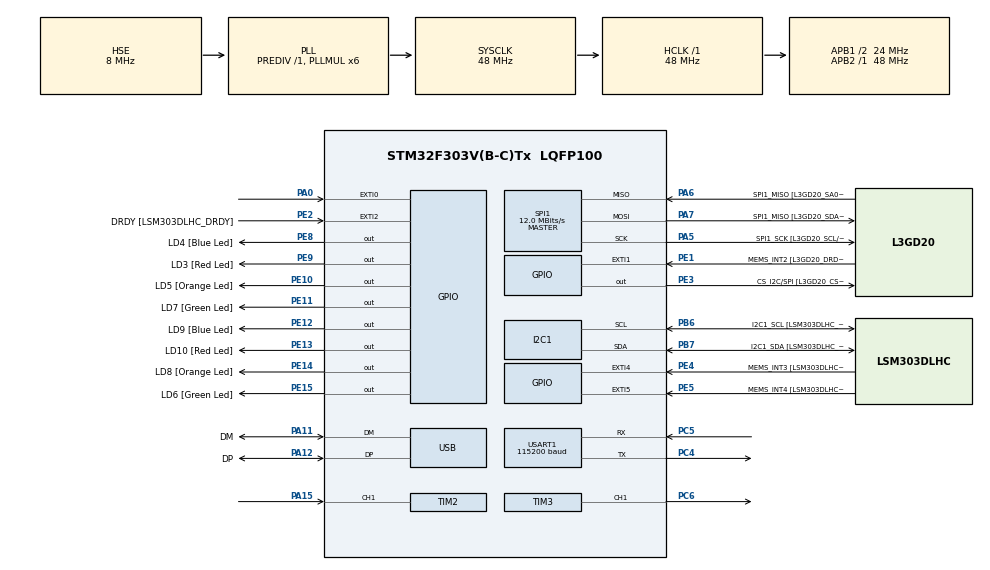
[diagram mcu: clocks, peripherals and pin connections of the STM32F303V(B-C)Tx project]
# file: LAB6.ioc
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I2C1.Timing=0x00201D2B
I2C1.Timing-I2C=0x2000090E
Mcu.Family=STM32F3
Mcu.Name=STM32F303V(B-C)Tx
Mcu.Package=LQFP100
NVIC.EXTI0_IRQn=true\:0\:0\:false\:false\:true\:true\:true\:true
NVIC.PriorityGroup=NVIC_PRIORITYGROUP_0
NVIC.TIM2_IRQn=true\:0\:0\:false\:false\:true\:true\:true\:true
NVIC.USB_LP_CAN_RX0_IRQn=true\:0\:0\:false\:false\:true\:false\:true\:true
PA0.Signal=GPXTI0
PA11.GPIO_Label=DM
PA11.Mode=Device
PA11.Signal=USB_DM
PA12.GPIO_Label=DP
PA12.Mode=Device
PA12.Signal=USB_DP
PA13.GPIO_Label=SWDIO
PA13.Mode=Serial_Wire
PA13.Signal=SYS_JTMS-SWDIO
PA14.GPIO_Label=SWCLK
PA14.Mode=Serial_Wire
PA14.Signal=SYS_JTCK-SWCLK
PA15.Signal=S_TIM2_CH1_ETR
PA5.GPIO_Label=SPI1_SCK [L3GD20_SCL/SPC]
PA5.Mode=Full_Duplex_Master
PA5.Signal=SPI1_SCK
PA6.GPIO_Label=SPI1_MISO [L3GD20_SA0/SDO]
PA6.Mode=Full_Duplex_Master
PA6.Signal=SPI1_MISO
PA7.GPIO_Label=SPI1_MISO [L3GD20_SDA/SDI/SDO]
PA7.Mode=Full_Duplex_Master
PA7.Signal=SPI1_MOSI
PB3.GPIO_Label=SWO
PB3.Signal=SYS_JTDO-TRACESWO
PB6.GPIO_Label=I2C1_SCL [LSM303DLHC_SCL]
PB6.GPIO_Pu=GPIO_PULLUP
PB6.Mode=I2C
PB6.Signal=I2C1_SCL
PB7.GPIO_Label=I2C1_SDA [LSM303DLHC_SDA]
PB7.GPIO_Pu=GPIO_PULLUP
PB7.Mode=I2C
PB7.Signal=I2C1_SDA
PC14-OSC32_IN.GPIO_Label=OSC32_IN
PC14-OSC32_IN.Signal=RCC_OSC32_IN
PC15-OSC32_OUT.GPIO_Label=OSC32_OUT
PC15-OSC32_OUT.Signal=RCC_OSC32_OUT
PC4.Mode=Asynchronous
PC4.Signal=USART1_TX
PC5.Mode=Asynchronous
PC5.Signal=USART1_RX
PC6.Signal=S_TIM3_CH1
PE1.GPIO_Label=MEMS_INT2 [L3GD20_DRDY/INT2]
PE1.GPIO_ModeDefaultEXTI=GPIO_MODE_EVT_RISING
PE1.Signal=GPXTI1
PE10.GPIO_Label=LD5 [Orange Led]
PE10.Signal=GPIO_Output
PE11.GPIO_Label=LD7 [Green Led]
PE11.Signal=GPIO_Output
PE12.GPIO_Label=LD9 [Blue Led]
PE12.Signal=GPIO_Output
PE13.GPIO_Label=LD10 [Red Led]
PE13.Signal=GPIO_Output
PE14.GPIO_Label=LD8 [Orange Led]
PE14.Signal=GPIO_Output
PE15.GPIO_Label=LD6 [Green Led]
PE15.Signal=GPIO_Output
PE2.GPIO_Label=DRDY [LSM303DLHC_DRDY]
PE2.GPIO_ModeDefaultEXTI=GPIO_MODE_EVT_RISING
PE2.Signal=GPXTI2
PE3.GPIO_Label=CS_I2C/SPI [L3GD20_CS_I2C/SPI]
PE3.Signal=GPIO_Output
PE4.GPIO_Label=MEMS_INT3 [LSM303DLHC_INT1]
PE4.GPIO_ModeDefaultEXTI=GPIO_MODE_EVT_RISING
PE4.Signal=GPXTI4
PE5.GPIO_Label=MEMS_INT4 [LSM303DLHC_INT2]
PE5.GPIO_ModeDefaultEXTI=GPIO_MODE_EVT_RISING
PE5.Signal=GPXTI5
PE8.GPIO_Label=LD4 [Blue Led]
PE8.Signal=GPIO_Output
PE9.GPIO_Label=LD3 [Red Led]
PE9.Signal=GPIO_Output
PF0-OSC_IN.GPIO_Label=OSC_IN
PF0-OSC_IN.Mode=HSE-External-Clock-Source
PF0-OSC_IN.Signal=RCC_OSC_IN
PF1-OSC_OUT.GPIO_Label=OSC_OUT
PF1-OSC_OUT.Signal=RCC_OSC_OUT
ProjectManager.HeapSize=0x200
ProjectManager.StackSize=0x400
ProjectManager.TargetToolchain=CMake
RCC.AHBFreq_Value=48000000
RCC.APB1CLKDivider=RCC_HCLK_DIV2
RCC.APB1Freq_Value=24000000
RCC.APB1TimFreq_Value=48000000
RCC.APB2Freq_Value=48000000
RCC.APB2TimFreq_Value=48000000
RCC.CortexFreq_Value=48000000
RCC.HCLKFreq_Value=48000000
RCC.HSE_VALUE=8000000
RCC.HSI_VALUE=8000000
RCC.LSE_VALUE=32768
RCC.PLLMUL=RCC_PLL_MUL6
RCC.SYSCLKFreq_VALUE=48000000
RCC.SYSCLKSourceVirtual=RCC_SYSCLKSOURCE_PLLCLK
RCC.USBFreq_Value=48000000
SH.S_TIM2_CH1_ETR.0=TIM2_CH1,Input_Capture1_from_TI1
SH.S_TIM3_CH1.0=TIM3_CH1,PWM Generation1 CH1
SPI1.BaudRatePrescaler=SPI_BAUDRATEPRESCALER_4
SPI1.BaudRatePrescaler-Full_Duplex_Master=SPI_BAUDRATEPRESCALER_2
SPI1.CalculateBaudRate=12.0 MBits/s
SPI1.CalculateBaudRate-Full_Duplex_Master=24.0 MBits/s
SPI1.Direction=SPI_DIRECTION_2LINES
SPI1.Mode=SPI_MODE_MASTER
SPI1.Mode-Full_Duplex_Master=SPI_MODE_MASTER
SPI1.VirtualType=VM_MASTER
TIM2.Channel-Input_Capture1_from_TI1=TIM_CHANNEL_1
TIM2.Prescaler=9
TIM3.Channel-PWM\ Generation1\ CH1=TIM_CHANNEL_1
TIM3.Period=999
TIM3.Prescaler=47
USART1.BaudRate=115200
USART1.VirtualMode-Asynchronous=VM_ASYNC
USB_DEVICE.CLASS_NAME_FS=CDC
USB_DEVICE.VirtualMode=Cdc
USB_DEVICE.VirtualModeFS=Cdc_FS
VP_USB_DEVICE_VS_USB_DEVICE_CDC_FS.Mode=CDC_FS
board=STM32F3DISCOVERY

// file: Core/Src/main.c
/* USER CODE BEGIN Header */
/**
  ******************************************************************************
  * @file           : main.c
  * @brief          : Main program body
  ******************************************************************************
  * @attention
  *
  * Copyright (c) 2025 STMicroelectronics.
  * All rights reserved.
  *
  * This software is licensed under terms that can be found in the LICENSE file
  * in the root directory of this software component.
  * If no LICENSE file comes with this software, it is provided AS-IS.
  *
  ******************************************************************************
  */
/* USER CODE END Header */
#include "main.h"
#include "usb_device.h"
#include <stdarg.h>
#include <stdio.h>
#include <string.h>

I2C_HandleTypeDef hi2c1;

SPI_HandleTypeDef hspi1;

TIM_HandleTypeDef htim2;
TIM_HandleTypeDef htim3;

UART_HandleTypeDef huart1;

void SystemClock_Config(void);
static void MX_GPIO_Init(void);
static void MX_I2C1_Init(void);
static void MX_SPI1_Init(void);
static void MX_TIM2_Init(void);
static void MX_TIM3_Init(void);
static void MX_USART1_UART_Init(void);

/* USER CODE BEGIN 0 */
volatile int edge_state = 0;         // 0 = waiting first edge, 1 = waiting second edge
volatile uint32_t period_ticks = 0;  // last measured period
int samples[10];
int samp_idx = 0; //num of values
volatile int print_flag = 0;         // set to 1 when samples[] is full
char buffer[50];
__HAL_RCC_AFIO_CLK_ENABLE();

void HAL_GPIO_EXTI_Callback(uint16_t GPIO_Pin)
{
  // print("hello_world");
    if (GPIO_Pin == GPIO_PIN_0)  // EXTI0 line -> our PD0 mapping
    {

        if (edge_state == 0) {
            __HAL_TIM_SET_COUNTER(&htim2, 0);
            edge_state = 1;
        } else {
            period_ticks = __HAL_TIM_GET_COUNTER(&htim2);
            edge_state = 0;

            if (samp_idx < (int)(sizeof(samples)/sizeof(samples[0]))) {
                samples[samp_idx++] = (int)period_ticks;
                if (samp_idx == (int)(sizeof(samples)/sizeof(samples[0]))) {
                    print_flag = 1;
                }
            }
        }
    }
}

void print(const char *fmt, ...)
{
  char buffer[128];
  va_list args;
  va_start(args, fmt);
  vsnprintf(buffer, sizeof(buffer), fmt, args);
  va_end(args);
  HAL_UART_Transmit(&huart1, (uint8_t *)buffer, strlen(buffer), HAL_MAX_DELAY);
}
/* USER CODE END 0 */

int main(void)
{

  /* MCU Configuration--------------------------------------------------------*/

  /* Reset of all peripherals, Initializes the Flash interface and the Systick. */
  HAL_Init();

  /* Configure the system clock */
  SystemClock_Config();

  /* Initialize all configured peripherals */
  MX_GPIO_Init();
  MX_I2C1_Init();
  MX_SPI1_Init();
  MX_TIM2_Init();
  MX_TIM3_Init();
  MX_USART1_UART_Init();
  MX_USB_DEVICE_Init();
  print("\r\nBoot OK. Waiting for PD0 edges...\r\n");

  /* Infinite loop */
  /* USER CODE BEGIN WHILE */
  HAL_TIM_Base_Start(&htim2);

while (1)
{
 char msg[40];
        snprintf(msg, sizeof(msg),
                 "state=%d,flag=%d\r\n",
                 edge_state,print_flag);
        HAL_UART_Transmit(&huart1, (uint8_t*)msg, strlen(msg), HAL_MAX_DELAY);
    if (print_flag)
    {
        long sum = 0;
        for (int i = 0; i < (int)(sizeof(samples)/sizeof(samples[0])); i++)
            sum += samples[i];
        double avg_ticks = (double)sum / (double)(sizeof(samples)/sizeof(samples[0]));

        // TIMER TICK RATE with your config:
        // TIM2 clock ≈ 48 MHz, PSC=9 -> tick = 4.8 MHz
        // Period T = avg_ticks / 4.8e6   ->  f = 4.8e6 / avg_ticks

        double f_hz = 4800000.0 / avg_ticks;

        // If your lab requires this exact formula:
        //    f = 8e6 / (2 * average_period)
        // that implies a different tick or half-period measurement.
        // With YOUR current config, use 4.8e6 / avg_ticks.

        // Simple error margin (±1 tick uncertainty per measurement → RMS over N):
        // Here’s a conservative ±(1 tick) on avg:
        double tick_hz = 4800000.0;
        double f_err_hz = tick_hz / (avg_ticks * avg_ticks); // ~df/dT with dT=1 tick

        char msg[128];
        snprintf(msg, sizeof(msg),
                 "avg_ticks=%.2f  f=%.2f Hz  +/- %.2f Hz\r\n",
                 avg_ticks, f_hz, f_err_hz);
        HAL_UART_Transmit(&huart1, (uint8_t*)msg, strlen(msg), HAL_MAX_DELAY);

        // reset for next batch
        samp_idx = 0;
        print_flag = 0;
    }

    HAL_Delay(100); // check every 100 ms
}

}

void SystemClock_Config(void)
{
  RCC_OscInitTypeDef RCC_OscInitStruct = {0};
  RCC_ClkInitTypeDef RCC_ClkInitStruct = {0};
  RCC_PeriphCLKInitTypeDef PeriphClkInit = {0};

  /** Initializes the RCC Oscillators according to the specified parameters
  * in the RCC_OscInitTypeDef structure.
  */
  RCC_OscInitStruct.OscillatorType = RCC_OSCILLATORTYPE_HSI|RCC_OSCILLATORTYPE_HSE;
  RCC_OscInitStruct.HSEState = RCC_HSE_BYPASS;
  RCC_OscInitStruct.HSEPredivValue = RCC_HSE_PREDIV_DIV1;
  RCC_OscInitStruct.HSIState = RCC_HSI_ON;
  RCC_OscInitStruct.HSICalibrationValue = RCC_HSICALIBRATION_DEFAULT;
  RCC_OscInitStruct.PLL.PLLState = RCC_PLL_ON;
  RCC_OscInitStruct.PLL.PLLSource = RCC_PLLSOURCE_HSE;
  RCC_OscInitStruct.PLL.PLLMUL = RCC_PLL_MUL6;
  if (HAL_RCC_OscConfig(&RCC_OscInitStruct) != HAL_OK)
  {
    Error_Handler();
  }

  /** Initializes the CPU, AHB and APB buses clocks
  */
  RCC_ClkInitStruct.ClockType = RCC_CLOCKTYPE_HCLK|RCC_CLOCKTYPE_SYSCLK
                              |RCC_CLOCKTYPE_PCLK1|RCC_CLOCKTYPE_PCLK2;
  RCC_ClkInitStruct.SYSCLKSource = RCC_SYSCLKSOURCE_PLLCLK;
  RCC_ClkInitStruct.AHBCLKDivider = RCC_SYSCLK_DIV1;
  RCC_ClkInitStruct.APB1CLKDivider = RCC_HCLK_DIV2;
  RCC_ClkInitStruct.APB2CLKDivider = RCC_HCLK_DIV1;

  if (HAL_RCC_ClockConfig(&RCC_ClkInitStruct, FLASH_LATENCY_1) != HAL_OK)
  {
    Error_Handler();
  }
  PeriphClkInit.PeriphClockSelection = RCC_PERIPHCLK_USB|RCC_PERIPHCLK_USART1
                              |RCC_PERIPHCLK_I2C1;
  PeriphClkInit.Usart1ClockSelection = RCC_USART1CLKSOURCE_PCLK2;
  PeriphClkInit.I2c1ClockSelection = RCC_I2C1CLKSOURCE_HSI;
  PeriphClkInit.USBClockSelection = RCC_USBCLKSOURCE_PLL;
  if (HAL_RCCEx_PeriphCLKConfig(&PeriphClkInit) != HAL_OK)
  {
    Error_Handler();
  }
}

static void MX_I2C1_Init(void)
{

  hi2c1.Instance = I2C1;
  hi2c1.Init.Timing = 0x00201D2B;
  hi2c1.Init.OwnAddress1 = 0;
  hi2c1.Init.AddressingMode = I2C_ADDRESSINGMODE_7BIT;
  hi2c1.Init.DualAddressMode = I2C_DUALADDRESS_DISABLE;
  hi2c1.Init.OwnAddress2 = 0;
  hi2c1.Init.OwnAddress2Masks = I2C_OA2_NOMASK;
  hi2c1.Init.GeneralCallMode = I2C_GENERALCALL_DISABLE;
  hi2c1.Init.NoStretchMode = I2C_NOSTRETCH_DISABLE;
  if (HAL_I2C_Init(&hi2c1) != HAL_OK)
  {
    Error_Handler();
  }

  /** Configure Analogue filter
  */
  if (HAL_I2CEx_ConfigAnalogFilter(&hi2c1, I2C_ANALOGFILTER_ENABLE) != HAL_OK)
  {
    Error_Handler();
  }

  /** Configure Digital filter
  */
  if (HAL_I2CEx_ConfigDigitalFilter(&hi2c1, 0) != HAL_OK)
  {
    Error_Handler();
  }

}

static void MX_SPI1_Init(void)
{

  /* SPI1 parameter configuration*/
  hspi1.Instance = SPI1;
  hspi1.Init.Mode = SPI_MODE_MASTER;
  hspi1.Init.Direction = SPI_DIRECTION_2LINES;
  hspi1.Init.DataSize = SPI_DATASIZE_4BIT;
  hspi1.Init.CLKPolarity = SPI_POLARITY_LOW;
  hspi1.Init.CLKPhase = SPI_PHASE_1EDGE;
  hspi1.Init.NSS = SPI_NSS_SOFT;
  hspi1.Init.BaudRatePrescaler = SPI_BAUDRATEPRESCALER_4;
  hspi1.Init.FirstBit = SPI_FIRSTBIT_MSB;
  hspi1.Init.TIMode = SPI_TIMODE_DISABLE;
  hspi1.Init.CRCCalculation = SPI_CRCCALCULATION_DISABLE;
  hspi1.Init.CRCPolynomial = 7;
  hspi1.Init.CRCLength = SPI_CRC_LENGTH_DATASIZE;
  hspi1.Init.NSSPMode = SPI_NSS_PULSE_ENABLE;
  if (HAL_SPI_Init(&hspi1) != HAL_OK)
  {
    Error_Handler();
  }

}

static void MX_TIM2_Init(void)
{
  htim2.Instance = TIM2;
  htim2.Init.Prescaler = 9;                        // 48 MHz / (9+1) = 4.8 MHz tick
  htim2.Init.CounterMode = TIM_COUNTERMODE_UP;
  htim2.Init.Period = 0xFFFFFFFF;                  // free-run 32-bit
  htim2.Init.ClockDivision = TIM_CLOCKDIVISION_DIV1;
  htim2.Init.AutoReloadPreload = TIM_AUTORELOAD_PRELOAD_DISABLE;
  if (HAL_TIM_Base_Init(&htim2) != HAL_OK)
  {
    Error_Handler();
  }
}

static void MX_TIM3_Init(void)
{

  TIM_MasterConfigTypeDef sMasterConfig = {0};
  TIM_OC_InitTypeDef sConfigOC = {0};

  htim3.Instance = TIM3;
  htim3.Init.Prescaler = 47;
  htim3.Init.CounterMode = TIM_COUNTERMODE_UP;
  htim3.Init.Period = 999;
  htim3.Init.ClockDivision = TIM_CLOCKDIVISION_DIV1;
  htim3.Init.AutoReloadPreload = TIM_AUTORELOAD_PRELOAD_DISABLE;
  if (HAL_TIM_PWM_Init(&htim3) != HAL_OK)
  {
    Error_Handler();
  }
  sMasterConfig.MasterOutputTrigger = TIM_TRGO_RESET;
  sMasterConfig.MasterSlaveMode = TIM_MASTERSLAVEMODE_DISABLE;
  if (HAL_TIMEx_MasterConfigSynchronization(&htim3, &sMasterConfig) != HAL_OK)
  {
    Error_Handler();
  }
  sConfigOC.OCMode = TIM_OCMODE_PWM1;
  sConfigOC.Pulse = 0;
  sConfigOC.OCPolarity = TIM_OCPOLARITY_HIGH;
  sConfigOC.OCFastMode = TIM_OCFAST_DISABLE;
  if (HAL_TIM_PWM_ConfigChannel(&htim3, &sConfigOC, TIM_CHANNEL_1) != HAL_OK)
  {
    Error_Handler();
  }
  HAL_TIM_MspPostInit(&htim3);

}

static void MX_USART1_UART_Init(void)
{

  huart1.Instance = USART1;
  huart1.Init.BaudRate = 115200;
  huart1.Init.WordLength = UART_WORDLENGTH_8B;
  huart1.Init.StopBits = UART_STOPBITS_1;
  huart1.Init.Parity = UART_PARITY_NONE;
  huart1.Init.Mode = UART_MODE_TX_RX;
  huart1.Init.HwFlowCtl = UART_HWCONTROL_NONE;
  huart1.Init.OverSampling = UART_OVERSAMPLING_16;
  huart1.Init.OneBitSampling = UART_ONE_BIT_SAMPLE_DISABLE;
  huart1.AdvancedInit.AdvFeatureInit = UART_ADVFEATURE_NO_INIT;
  if (HAL_UART_Init(&huart1) != HAL_OK)
  {
    Error_Handler();
  }

}

static void MX_GPIO_Init(void)
{__HAL_RCC_GPIOD_CLK_ENABLE();
  GPIO_InitTypeDef GPIO_InitStruct = {0};

  /* GPIO Ports Clock Enable */
  __HAL_RCC_GPIOE_CLK_ENABLE();
  __HAL_RCC_GPIOC_CLK_ENABLE();
  __HAL_RCC_GPIOF_CLK_ENABLE();
  __HAL_RCC_GPIOA_CLK_ENABLE();
  __HAL_RCC_GPIOB_CLK_ENABLE();

  /*Configure GPIO pin Output Level */
  HAL_GPIO_WritePin(GPIOE, CS_I2C_SPI_Pin|LD4_Pin|LD3_Pin|LD5_Pin
                          |LD7_Pin|LD9_Pin|LD10_Pin|LD8_Pin
                          |LD6_Pin, GPIO_PIN_RESET);

  /*Configure GPIO pins : DRDY_Pin MEMS_INT3_Pin MEMS_INT4_Pin MEMS_INT2_Pin */
  GPIO_InitStruct.Pin = DRDY_Pin|MEMS_INT3_Pin|MEMS_INT4_Pin|MEMS_INT2_Pin;
  GPIO_InitStruct.Mode = GPIO_MODE_EVT_RISING;
  GPIO_InitStruct.Pull = GPIO_NOPULL;
  HAL_GPIO_Init(GPIOE, &GPIO_InitStruct);

  /*Configure GPIO pins : CS_I2C_SPI_Pin LD4_Pin LD3_Pin LD5_Pin
                           LD7_Pin LD9_Pin LD10_Pin LD8_Pin
                           LD6_Pin */
  GPIO_InitStruct.Pin = CS_I2C_SPI_Pin|LD4_Pin|LD3_Pin|LD5_Pin
                          |LD7_Pin|LD9_Pin|LD10_Pin|LD8_Pin
                          |LD6_Pin;
  GPIO_InitStruct.Mode = GPIO_MODE_OUTPUT_PP;
  GPIO_InitStruct.Pull = GPIO_NOPULL;
  GPIO_InitStruct.Speed = GPIO_SPEED_FREQ_LOW;
  HAL_GPIO_Init(GPIOE, &GPIO_InitStruct);

  /*Configure GPIO pin : PA0 */
  GPIO_InitStruct.Pin = GPIO_PIN_0;
  GPIO_InitStruct.Mode = GPIO_MODE_IT_RISING;
  GPIO_InitStruct.Pull = GPIO_NOPULL;
  HAL_GPIO_Init(GPIOA, &GPIO_InitStruct);

  /* EXTI interrupt init*/
  HAL_NVIC_SetPriority(EXTI0_IRQn, 0, 0);
  HAL_NVIC_EnableIRQ(EXTI0_IRQn);

}

void Error_Handler(void)
{
  __disable_irq();
  while (1)
  {
  }
}
